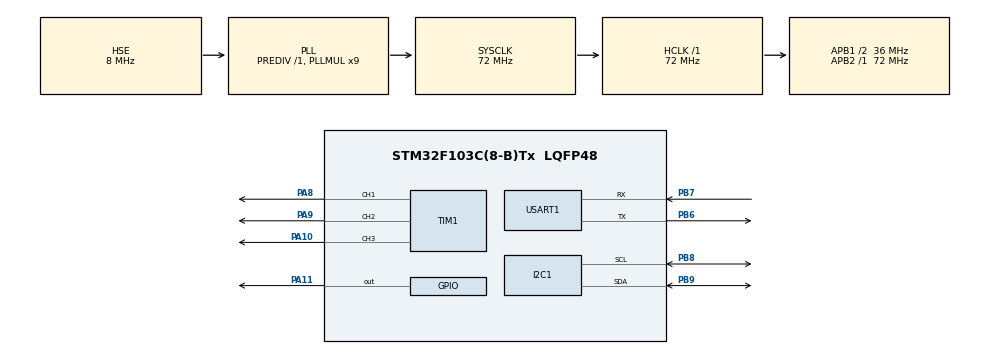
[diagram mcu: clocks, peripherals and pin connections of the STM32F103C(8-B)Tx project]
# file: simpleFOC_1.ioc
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Mcu.Family=STM32F1
Mcu.Name=STM32F103C(8-B)Tx
Mcu.Package=LQFP48
NVIC.PriorityGroup=NVIC_PRIORITYGROUP_4
NVIC.TIM2_IRQn=true\:0\:0\:false\:false\:true\:true\:true\:true
NVIC.USART1_IRQn=true\:1\:0\:true\:false\:true\:true\:true\:true
PA10.Signal=S_TIM1_CH3
PA11.Signal=GPIO_Output
PA13.Mode=Serial_Wire
PA13.Signal=SYS_JTMS-SWDIO
PA14.Mode=Serial_Wire
PA14.Signal=SYS_JTCK-SWCLK
PA8.Signal=S_TIM1_CH1
PA9.Signal=S_TIM1_CH2
PB6.Mode=Asynchronous
PB6.Signal=USART1_TX
PB7.Mode=Asynchronous
PB7.Signal=USART1_RX
PB8.Mode=I2C
PB8.Signal=I2C1_SCL
PB9.Mode=I2C
PB9.Signal=I2C1_SDA
PD0-OSC_IN.Mode=HSE-External-Oscillator
PD0-OSC_IN.Signal=RCC_OSC_IN
PD1-OSC_OUT.Mode=HSE-External-Oscillator
PD1-OSC_OUT.Signal=RCC_OSC_OUT
ProjectManager.HeapSize=0x200
ProjectManager.StackSize=0x400
ProjectManager.TargetToolchain=CMake
RCC.AHBFreq_Value=72000000
RCC.APB1CLKDivider=RCC_HCLK_DIV2
RCC.APB1Freq_Value=36000000
RCC.APB1TimFreq_Value=72000000
RCC.APB2Freq_Value=72000000
RCC.APB2TimFreq_Value=72000000
RCC.HCLKFreq_Value=72000000
RCC.PLLMUL=RCC_PLL_MUL9
RCC.PLLSourceVirtual=RCC_PLLSOURCE_HSE
RCC.SYSCLKFreq_VALUE=72000000
RCC.SYSCLKSource=RCC_SYSCLKSOURCE_PLLCLK
RCC.USBFreq_Value=72000000
SH.S_TIM1_CH1.0=TIM1_CH1,PWM Generation1 CH1
SH.S_TIM1_CH2.0=TIM1_CH2,PWM Generation2 CH2
SH.S_TIM1_CH3.0=TIM1_CH3,PWM Generation3 CH3
TIM1.Channel-PWM\ Generation1\ CH1=TIM_CHANNEL_1
TIM1.Channel-PWM\ Generation2\ CH2=TIM_CHANNEL_2
TIM1.Channel-PWM\ Generation3\ CH3=TIM_CHANNEL_3
USART1.VirtualMode=VM_ASYNC
VP_TIM2_VS_ClockSourceINT.Mode=Internal
board=custom

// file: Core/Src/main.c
/* USER CODE BEGIN Header */
/**
  ******************************************************************************
  * @file           : main.c
  * @brief          : Main program body
  ******************************************************************************
  * @attention
  *
  * Copyright (c) 2026 STMicroelectronics.
  * All rights reserved.
  *
  * This software is licensed under terms that can be found in the LICENSE file
  * in the root directory of this software component.
  * If no LICENSE file comes with this software, it is provided AS-IS.
  *
  ******************************************************************************
  */
/* USER CODE END Header */
#include "main.h"

/* USER CODE BEGIN Includes */
#include "as5600.h"
#include "soft_i2c.h"
#include "foc.h"
#include <string.h>
#include <stdio.h>
#include <stdlib.h>
#include <math.h>
/* USER CODE END Includes */

/* USER CODE BEGIN PD */
#define UART_RX_BUF_SIZE    64      /* 串口接收缓冲区大小         */
#define FOC_TICK_HZ         1098.0f /* TIM2 溢出频率 (72M/65536) */
#define AS5600_READ_DIV     10      /* 每 10 次 tick 读一次 I2C  */
/* USER CODE END PD */

I2C_HandleTypeDef hi2c1;

TIM_HandleTypeDef htim1;
TIM_HandleTypeDef htim2;

UART_HandleTypeDef huart1;

/* USER CODE BEGIN PV */

/* ---- 电机控制器 ---- */
MotorController motor;

/* ---- AS5600 编码器 ---- */
volatile float    g_mech_angle_rad = 0.0f;  /* 当前圈机械角度 (rad, 0~2π) */
volatile float    g_mech_angle_acc = 0.0f;  /* 累计机械角度 (rad, 无限, 跨圈追踪) */
volatile uint16_t g_raw_angle      = 0;     /* 原始角度 (0-4095)   */
volatile uint16_t g_i2c_err_count  = 0;     /* 软 I2C 连续失败计数  */

/* ---- 定时标志 ---- */
volatile uint8_t  foc_tick   = 0;           /* TIM2 溢出标志       */
volatile uint32_t tick_count = 0;           /* 总 tick 计数 (1098Hz, ~49天回绕) */

/* ---- UART 接收 ---- */
volatile uint8_t  uart_rx_byte;             /* 单字节接收缓冲       */
volatile char     uart_rx_buf[UART_RX_BUF_SIZE];
volatile uint8_t  uart_rx_idx   = 0;
volatile uint8_t  uart_cmd_ready = 0;

/* ---- 自动打印开关 ---- */
volatile uint8_t  auto_print_enabled = 1;   /* 1=每500ms自动打印 */

/* ---- VOFA+ FireWater 协议输出 ---- */
volatile uint8_t  vofa_enabled      = 0;   /* 1=每帧控制周期输出 FireWater 数据 */

/* USER CODE END PV */

void SystemClock_Config(void);
static void MX_GPIO_Init(void);
static void MX_I2C1_Init(void);
static void MX_TIM1_Init(void);
static void MX_TIM2_Init(void);
static void MX_USART1_UART_Init(void);
/* USER CODE BEGIN PFP */
static void UART_ParseCommand(char *cmd);
static void UART_PrintStatus(void);
static void UART_SendString(const char *str);
/* USER CODE END PFP */

int main(void)
{

  /* MCU Configuration--------------------------------------------------------*/

  /* Reset of all peripherals, Initializes the Flash interface and the Systick. */
  HAL_Init();

  /* Configure the system clock */
  SystemClock_Config();

  /* Initialize all configured peripherals */
  MX_GPIO_Init();
  MX_I2C1_Init();
  SoftI2C_Init();   /* 将 PB8/PB9 切为 GPIO 开漏 (替代硬件 I2C) */
  MX_TIM1_Init();
  MX_TIM2_Init();
  MX_USART1_UART_Init();
  /* USER CODE BEGIN 2 */

  /* 初始化电机控制器: 7 极对, PWM 周期 65535
   * dt = AS5600_READ_DIV / FOC_TICK_HZ ≈ 0.0091s → ~110Hz 控制频率 */
  Motor_Init(&motor, 7, __HAL_TIM_GET_AUTORELOAD(&htim1),
             (float)AS5600_READ_DIV / FOC_TICK_HZ);

  /* 硬件使能 SimpleFOC Mini (PA11 = HIGH)
   * 注意: 软件使能 (motor.enabled = 1) 要等第一次读完传感器再开
   *       否则 target_position 会被锁定为 0 (还没读到编码器) */
  HAL_GPIO_WritePin(GPIOA, GPIO_PIN_11, GPIO_PIN_SET);

  /* 设置伺服参数: 低增益起步，避免震荡 */
  Motor_SetVoltage(&motor, 0.4f);              /* 最大 40% 电压       */
  Motor_SetPID(&motor, 0.1f, 0.02f, 0.01f);   /* Kp Ki Kd, 2804 12N14P 低增益起步 */

  /* ---- 启动诊断: 确认初始化后的状态 ---- */
  {
    char init_diag[80];
    snprintf(init_diag, sizeof(init_diag),
      "INIT: mode=%d enabled=%d pp=%d vlim=%.2f dt=%.4f\r\n",
      (int)motor.mode, (int)motor.enabled, (int)motor.pole_pairs,
      (double)motor.voltage_limit, (double)motor.dt);
    UART_SendString(init_diag);
  }

  /* ---- IWDG 独立看门狗: ~1s 超时, 主循环卡死自动复位 ---- */
  IWDG->KR = 0x5555;        /* 解锁 IWDG 寄存器 */
  IWDG->PR = 0x04;          /* 预分频 /64 → LSI(40kHz)/64 = 625Hz */
  IWDG->RLR = 625;          /* 重装载 625 → 1s 超时 */
  IWDG->KR = 0xCCCC;        /* 启动 IWDG (启动后无法软件关闭) */
  IWDG->KR = 0xAAAA;        /* 喂一次狗 */

  /* 启动 TIM1 三路 PWM */
  HAL_TIM_PWM_Start(&htim1, TIM_CHANNEL_1);
  HAL_TIM_PWM_Start(&htim1, TIM_CHANNEL_2);
  HAL_TIM_PWM_Start(&htim1, TIM_CHANNEL_3);

  /* 启动 TIM2 周期中断 */
  HAL_TIM_Base_Start_IT(&htim2);

  /* 启动 USART1 中断接收 */
  HAL_UART_Receive_IT(&huart1, (uint8_t *)&uart_rx_byte, 1);

  /* 打印帮助 */
  UART_SendString("\r\n");
  UART_SendString("========================================\r\n");
  UART_SendString("  SimpleFOC Position Servo v2.1\r\n");
  UART_SendString("========================================\r\n");
  UART_SendString("  模式:\r\n");
  UART_SendString("   M0 - 开环速度模式  M1 - 位置伺服模式\r\n");
  UART_SendString("  伺服命令:\r\n");
  UART_SendString("   T<deg>    目标角度    (如 T90, T-45)\r\n");
  UART_SendString("   V<0~1>    电压限幅    (如 V0.3)\r\n");
  UART_SendString("   Kp/Ki/Kd<n> PID 增益 (如 Kp0.5)\r\n");
  UART_SendString("   E1/E0     使能/禁用\r\n");
  UART_SendString("   P<n>      极对数      (如 P7)\r\n");
  UART_SendString("   S<rpm>    开环转速    (如 S60)\r\n");
  UART_SendString("  诊断:\r\n");
  UART_SendString("   ?         完整状态\r\n");
  UART_SendString("   D         编码器原始值 (持续打印5次)\r\n");
  UART_SendString("   C         切换自动状态打印 (开/关)\r\n");
  UART_SendString("   O1/O0     VOFA+ FireWater 输出 (19Hz 可视化)\r\n");
  UART_SendString("   H         本帮助\r\n");
  UART_SendString("========================================\r\n");

  /* USER CODE END 2 */

  /* Infinite loop */
  while (1)
  {

    /* USER CODE BEGIN 3 */

    /* 喂看门狗: 主循环每轮都喂, 卡死超过 1s 自动复位 */
    IWDG->KR = 0xAAAA;

    /* ===== FOC 控制更新 (同步传感器速率, ~110Hz) ===== */
    if (foc_tick) {
      foc_tick = 0;
      tick_count++;

      /* 只在读到新传感器数据时才执行 PID + PWM 更新
       * 避免用旧角度重复计算导致积分震荡 */
      static uint32_t last_ctrl_tick = 0;
      if (tick_count - last_ctrl_tick >= AS5600_READ_DIV) {
        last_ctrl_tick = tick_count;

        /* 读取 AS5600 角度 (软件 I2C, 无硬件卡死风险) */
        uint16_t raw = AS5600_ReadRawAngle();
        if (raw != 0xFFFF) {
          g_i2c_err_count = 0;
          g_raw_angle = raw;
          g_mech_angle_rad = (float)raw * 6.283185307f / 4096.0f;

          /* ---- 累计角度 (跨圈追踪) ----
           * AS5600 只输出 0~2π 的绝对值, 过 0/360° 边界会跳变.
           * 这里追踪每次读数的变化量, 检测到 >π 的跳变就修正,
           * 把单圈绝对值展开为跨越多圈的累计角度. */
          static float prev_wrapped = -1e10f;  /* 哨兵: 首帧 */
          if (prev_wrapped < -1e9f) {
            /* 首帧: 直接用当前值初始化 */
            g_mech_angle_acc = g_mech_angle_rad;
            prev_wrapped = g_mech_angle_rad;
          } else {
            float delta = g_mech_angle_rad - prev_wrapped;
            /* 修正 ±π 跳变 → 正常物理转动不会在 9ms 内超过半圈 */
            if (delta >  3.14159265f) delta -= 6.283185307f;
            if (delta < -3.14159265f) delta += 6.283185307f;
            g_mech_angle_acc += delta;
            prev_wrapped = g_mech_angle_rad;
          }

          /* 给 PID 和 FOC 传累计角度 (无跳变) */
          Motor_SetMechanicalAngle(&motor, g_mech_angle_acc);

          /* 首次读到有效传感器数据：使能电机 + 锁定当前位置 */
          static uint8_t first_read = 1;
          if (first_read) {
            first_read = 0;
            motor.mode            = MODE_POSITION_SERVO;
            motor.target_position = g_mech_angle_acc;  /* 累计位置 */
            motor.enabled         = 1;
            motor.electrical_angle = 0.0f;
            PID_Reset(&motor.pid);
            UART_SendString("BOOT: first sensor OK, servo locked.\r\n");
          }
        } else {
          /* 软 I2C 读失败 → 递增错误计数
           * 连续失败 ≥60 次 (~0.5s) 则禁能 */
          g_i2c_err_count++;
          if (g_i2c_err_count >= 60 && motor.enabled) {
            motor.enabled = 0;
            uint16_t neutral = motor.pwm_period >> 1;
            __HAL_TIM_SET_COMPARE(&htim1, TIM_CHANNEL_1, neutral);
            __HAL_TIM_SET_COMPARE(&htim1, TIM_CHANNEL_2, neutral);
            __HAL_TIM_SET_COMPARE(&htim1, TIM_CHANNEL_3, neutral);
            UART_SendString("EMERGENCY: I2C lost, motor disabled!\r\n");
          }
        }

        /* 新角度 → 运行一次 PID → 更新 PWM */
        Motor_UpdatePWM(&motor, &htim1);

        /* ---- VOFA+ FireWater 输出 (每控制帧, 仅传感器读数成功时) ----
         * 格式: angle,target,error,i2cerr\n
         * 4 通道 float, CSV 文本, 110Hz @ 115200 → 占用 ~17% 带宽 */
        if (vofa_enabled && raw != 0xFFFF) {
          static char vbuf[48];
          int len = snprintf(vbuf, sizeof(vbuf),
            "%.1f,%.1f,%.1f,%u\r\n",
            (double)(g_mech_angle_rad * 57.29578f),
            (double)(motor.target_position * 57.29578f),
            (double)((motor.target_position - g_mech_angle_acc) * 57.29578f),
            g_i2c_err_count);
          if (len > 0 && len < (int)sizeof(vbuf)) {
            HAL_UART_Transmit(&huart1, (uint8_t *)vbuf, (uint16_t)len, 5);
          }
        }
      }
    }

    /* ===== UART 命令处理 ===== */
    if (uart_cmd_ready) {
      uart_cmd_ready = 0;
      UART_ParseCommand((char *)uart_rx_buf);
      uart_rx_idx = 0;
      /* 注意: 不在这里调 HAL_UART_Receive_IT
       * 中断回调 HAL_UART_RxCpltCallback 已经持续在接收下一个字节 */
    }

    /* ===== 自动打印状态 (每 ~500ms, 可通过 'C' 命令开关) ===== */
    static uint32_t print_tick = 0;
    if (auto_print_enabled && tick_count - print_tick >= 550) {
      print_tick = tick_count;
      static char buf[96];  /* static — 不放栈上 */
      /* 显示误差: 用累计角度 (target - g_mech_angle_acc),
       * 值为 0 时在目标, ±360°=多转一圈, 直观显示"转了几圈" */
      snprintf(buf, sizeof(buf),
        "> A:%4u deg:%6.1f err:%+6.1f tgt:%5.1f v:%.2f %s i2c:%u\r\n",
        g_raw_angle,
        (double)(g_mech_angle_rad * 57.29578f),
        (double)((motor.target_position - g_mech_angle_acc) * 57.29578f),
        (double)(motor.target_position * 57.29578f),
        motor.voltage_limit,
        motor.enabled ? (motor.mode == MODE_POSITION_SERVO ? "[SERVO]" : "[SPEED]") : "[OFF]",
        g_i2c_err_count
      );
      UART_SendString(buf);
    }

    /* USER CODE END 3 */
  }
}

void SystemClock_Config(void)
{
  RCC_OscInitTypeDef RCC_OscInitStruct = {0};
  RCC_ClkInitTypeDef RCC_ClkInitStruct = {0};

  /** Initializes the RCC Oscillators according to the specified parameters
  * in the RCC_OscInitTypeDef structure.
  */
  RCC_OscInitStruct.OscillatorType = RCC_OSCILLATORTYPE_HSE;
  RCC_OscInitStruct.HSEState = RCC_HSE_ON;
  RCC_OscInitStruct.HSEPredivValue = RCC_HSE_PREDIV_DIV1;
  RCC_OscInitStruct.HSIState = RCC_HSI_ON;
  RCC_OscInitStruct.PLL.PLLState = RCC_PLL_ON;
  RCC_OscInitStruct.PLL.PLLSource = RCC_PLLSOURCE_HSE;
  RCC_OscInitStruct.PLL.PLLMUL = RCC_PLL_MUL9;
  if (HAL_RCC_OscConfig(&RCC_OscInitStruct) != HAL_OK)
  {
    Error_Handler();
  }

  /** Initializes the CPU, AHB and APB buses clocks
  */
  RCC_ClkInitStruct.ClockType = RCC_CLOCKTYPE_HCLK|RCC_CLOCKTYPE_SYSCLK
                              |RCC_CLOCKTYPE_PCLK1|RCC_CLOCKTYPE_PCLK2;
  RCC_ClkInitStruct.SYSCLKSource = RCC_SYSCLKSOURCE_PLLCLK;
  RCC_ClkInitStruct.AHBCLKDivider = RCC_SYSCLK_DIV1;
  RCC_ClkInitStruct.APB1CLKDivider = RCC_HCLK_DIV2;
  RCC_ClkInitStruct.APB2CLKDivider = RCC_HCLK_DIV1;

  if (HAL_RCC_ClockConfig(&RCC_ClkInitStruct, FLASH_LATENCY_2) != HAL_OK)
  {
    Error_Handler();
  }
}

static void MX_I2C1_Init(void)
{

  hi2c1.Instance = I2C1;
  hi2c1.Init.ClockSpeed = 100000;
  hi2c1.Init.DutyCycle = I2C_DUTYCYCLE_2;
  hi2c1.Init.OwnAddress1 = 0;
  hi2c1.Init.AddressingMode = I2C_ADDRESSINGMODE_7BIT;
  hi2c1.Init.DualAddressMode = I2C_DUALADDRESS_DISABLE;
  hi2c1.Init.OwnAddress2 = 0;
  hi2c1.Init.GeneralCallMode = I2C_GENERALCALL_DISABLE;
  hi2c1.Init.NoStretchMode = I2C_NOSTRETCH_DISABLE;
  if (HAL_I2C_Init(&hi2c1) != HAL_OK)
  {
    Error_Handler();
  }

}

static void MX_TIM1_Init(void)
{

  TIM_MasterConfigTypeDef sMasterConfig = {0};
  TIM_OC_InitTypeDef sConfigOC = {0};
  TIM_BreakDeadTimeConfigTypeDef sBreakDeadTimeConfig = {0};

  htim1.Instance = TIM1;
  htim1.Init.Prescaler = 0;
  htim1.Init.CounterMode = TIM_COUNTERMODE_UP;
  htim1.Init.Period = 65535;
  htim1.Init.ClockDivision = TIM_CLOCKDIVISION_DIV1;
  htim1.Init.RepetitionCounter = 0;
  htim1.Init.AutoReloadPreload = TIM_AUTORELOAD_PRELOAD_DISABLE;
  if (HAL_TIM_PWM_Init(&htim1) != HAL_OK)
  {
    Error_Handler();
  }
  sMasterConfig.MasterOutputTrigger = TIM_TRGO_RESET;
  sMasterConfig.MasterSlaveMode = TIM_MASTERSLAVEMODE_DISABLE;
  if (HAL_TIMEx_MasterConfigSynchronization(&htim1, &sMasterConfig) != HAL_OK)
  {
    Error_Handler();
  }
  sConfigOC.OCMode = TIM_OCMODE_PWM1;
  sConfigOC.Pulse = 0;
  sConfigOC.OCPolarity = TIM_OCPOLARITY_HIGH;
  sConfigOC.OCNPolarity = TIM_OCNPOLARITY_HIGH;
  sConfigOC.OCFastMode = TIM_OCFAST_DISABLE;
  sConfigOC.OCIdleState = TIM_OCIDLESTATE_RESET;
  sConfigOC.OCNIdleState = TIM_OCNIDLESTATE_RESET;
  if (HAL_TIM_PWM_ConfigChannel(&htim1, &sConfigOC, TIM_CHANNEL_1) != HAL_OK)
  {
    Error_Handler();
  }
  if (HAL_TIM_PWM_ConfigChannel(&htim1, &sConfigOC, TIM_CHANNEL_2) != HAL_OK)
  {
    Error_Handler();
  }
  if (HAL_TIM_PWM_ConfigChannel(&htim1, &sConfigOC, TIM_CHANNEL_3) != HAL_OK)
  {
    Error_Handler();
  }
  sBreakDeadTimeConfig.OffStateRunMode = TIM_OSSR_DISABLE;
  sBreakDeadTimeConfig.OffStateIDLEMode = TIM_OSSI_DISABLE;
  sBreakDeadTimeConfig.LockLevel = TIM_LOCKLEVEL_OFF;
  sBreakDeadTimeConfig.DeadTime = 0;
  sBreakDeadTimeConfig.BreakState = TIM_BREAK_DISABLE;
  sBreakDeadTimeConfig.BreakPolarity = TIM_BREAKPOLARITY_HIGH;
  sBreakDeadTimeConfig.AutomaticOutput = TIM_AUTOMATICOUTPUT_DISABLE;
  if (HAL_TIMEx_ConfigBreakDeadTime(&htim1, &sBreakDeadTimeConfig) != HAL_OK)
  {
    Error_Handler();
  }
  HAL_TIM_MspPostInit(&htim1);

}

static void MX_TIM2_Init(void)
{

  TIM_ClockConfigTypeDef sClockSourceConfig = {0};
  TIM_MasterConfigTypeDef sMasterConfig = {0};

  htim2.Instance = TIM2;
  htim2.Init.Prescaler = 0;
  htim2.Init.CounterMode = TIM_COUNTERMODE_UP;
  htim2.Init.Period = 65535;
  htim2.Init.ClockDivision = TIM_CLOCKDIVISION_DIV1;
  htim2.Init.AutoReloadPreload = TIM_AUTORELOAD_PRELOAD_DISABLE;
  if (HAL_TIM_Base_Init(&htim2) != HAL_OK)
  {
    Error_Handler();
  }
  sClockSourceConfig.ClockSource = TIM_CLOCKSOURCE_INTERNAL;
  if (HAL_TIM_ConfigClockSource(&htim2, &sClockSourceConfig) != HAL_OK)
  {
    Error_Handler();
  }
  sMasterConfig.MasterOutputTrigger = TIM_TRGO_RESET;
  sMasterConfig.MasterSlaveMode = TIM_MASTERSLAVEMODE_DISABLE;
  if (HAL_TIMEx_MasterConfigSynchronization(&htim2, &sMasterConfig) != HAL_OK)
  {
    Error_Handler();
  }

}

static void MX_USART1_UART_Init(void)
{

  huart1.Instance = USART1;
  huart1.Init.BaudRate = 115200;
  huart1.Init.WordLength = UART_WORDLENGTH_8B;
  huart1.Init.StopBits = UART_STOPBITS_1;
  huart1.Init.Parity = UART_PARITY_NONE;
  huart1.Init.Mode = UART_MODE_TX_RX;
  huart1.Init.HwFlowCtl = UART_HWCONTROL_NONE;
  huart1.Init.OverSampling = UART_OVERSAMPLING_16;
  if (HAL_UART_Init(&huart1) != HAL_OK)
  {
    Error_Handler();
  }

}

static void MX_GPIO_Init(void)
{
  GPIO_InitTypeDef GPIO_InitStruct = {0};

  /* GPIO Ports Clock Enable */
  __HAL_RCC_GPIOD_CLK_ENABLE();
  __HAL_RCC_GPIOA_CLK_ENABLE();
  __HAL_RCC_GPIOB_CLK_ENABLE();

  /*Configure GPIO pin Output Level */
  HAL_GPIO_WritePin(GPIOA, GPIO_PIN_11, GPIO_PIN_RESET);

  /*Configure GPIO pin : PA11 */
  GPIO_InitStruct.Pin = GPIO_PIN_11;
  GPIO_InitStruct.Mode = GPIO_MODE_OUTPUT_PP;
  GPIO_InitStruct.Pull = GPIO_NOPULL;
  GPIO_InitStruct.Speed = GPIO_SPEED_FREQ_LOW;
  HAL_GPIO_Init(GPIOA, &GPIO_InitStruct);

}

/* USER CODE BEGIN 4 */

/* ================================================================
 *                    HAL 回调函数
 * ================================================================ */

/**
 * @brief TIM 周期溢出回调 — 由 HAL_TIM_IRQHandler 调用
 */
void HAL_TIM_PeriodElapsedCallback(TIM_HandleTypeDef *htim)
{
  if (htim->Instance == TIM2) {
    foc_tick = 1;         /* 通知主循环更新控制 */
  }
}

/**
 * @brief UART 接收完成回调 — 单字节接收模式
 */
void HAL_UART_RxCpltCallback(UART_HandleTypeDef *huart)
{
  if (huart->Instance == USART1) {
    uint8_t byte = uart_rx_byte;

    /* 收到换行 → 命令就绪 */
    if (byte == '\n' || byte == '\r') {
      if (uart_rx_idx > 0 && !uart_cmd_ready) {
        uart_rx_buf[uart_rx_idx] = '\0';
        uart_cmd_ready = 1;
      }
    }
    /* 普通字符 → 写入缓冲区 (上次命令未处理完则丢弃) */
    else if (uart_rx_idx < UART_RX_BUF_SIZE - 1 && !uart_cmd_ready) {
      uart_rx_buf[uart_rx_idx++] = (char)byte;
    }

    /* 重新启用中断接收下一个字节 */
    HAL_UART_Receive_IT(&huart1, (uint8_t *)&uart_rx_byte, 1);
  }
}

/* ================================================================
 *                    UART 辅助函数
 * ================================================================ */

/**
 * @brief 发送字符串到串口
 */
static void UART_SendString(const char *str)
{
  HAL_UART_Transmit(&huart1, (uint8_t *)str, strlen(str), 100);
}

/**
 * @brief 打印当前状态
 */
static void UART_PrintStatus(void)
{
  static char buf[384];  /* static — 不放栈上, 防栈溢出 */
  snprintf(buf, sizeof(buf),
    "--- Status ------------------\r\n"
    " Mode:     %s (%d)\r\n"
    " Enabled:  %d\r\n"
    " Voltage:  %.2f\r\n"
    " Pole Pairs: %d\r\n"
    " Raw Angle:  %u / 4095\r\n"
    " Mech Angle: %.2f rad (%.1f deg)\r\n"
    " Elec Angle: %.2f rad\r\n"
    " Target Pos: %.1f deg\r\n"
    " Pos Error:  %+.1f deg\r\n"
    " PID Kp=%.3f Ki=%.3f Kd=%.3f\r\n"
    " Ticks: %lu\r\n"
    " I2C Err: %u\r\n"
    "-----------------------------\r\n",
    motor.mode == MODE_POSITION_SERVO ? "SERVO" : "SPEED",
    (int)motor.mode,
    motor.enabled,
    motor.voltage_limit,
    motor.pole_pairs,
    g_raw_angle,
    g_mech_angle_rad,
    (double)(g_mech_angle_rad * 57.29578f),
    motor.electrical_angle,
    (double)(motor.target_position * 57.29578f),
    (double)((motor.target_position - g_mech_angle_acc) * 57.29578f),
    motor.pid.Kp, motor.pid.Ki, motor.pid.Kd,
    tick_count,
    g_i2c_err_count
  );
  UART_SendString(buf);
}

/**
 * @brief 解析串口命令
 *
 *  协议: 单字母命令 + 可选参数，换行结束。大小写不敏感。
 *  @note atof() 始终可用 (stdlib), snprintf %f 需要 -u _printf_float
 */
static void UART_ParseCommand(char *cmd)
{
  /* 跳过前导空白 */
  while (*cmd == ' ' || *cmd == '\t') cmd++;
  if (*cmd == '\0') return;

  char op = *cmd++;
  static char buf[64];  /* static — 不放栈上 */

  switch (op) {

    /* ==================== 模式切换 ==================== */
    case 'M': case 'm': {
      int m = atoi(cmd);
      if (m == 0) {
        Motor_SetMode(&motor, MODE_OPENLOOP_SPEED);
        UART_SendString("OK Mode -> OPENLOOP SPEED\r\n");
      } else if (m == 1) {
        Motor_SetMode(&motor, MODE_POSITION_SERVO);
        UART_SendString("OK Mode -> POSITION SERVO\r\n");
      } else {
        UART_SendString("ERR M0=Speed M1=Servo\r\n");
      }
      break;
    }

    /* ==================== 目标角度 (伺服模式) ==================== */
    case 'T': case 't': {
      float deg = (float)atof(cmd);
      /* 将用户请求的绝对角度 (0~360°) 映射到累计坐标系:
       * 找距离当前累计位置最近的那个"90°"实例 */
      float req = deg * 0.0174532925f;        /* 请求角 (rad, 0~2π) */
      float diff = req - g_mech_angle_rad;    /* 当前圈内的差值 */
      if (diff >  3.14159265f) diff -= 6.283185307f;
      if (diff < -3.14159265f) diff += 6.283185307f;
      motor.target_position = g_mech_angle_acc + diff;
      snprintf(buf, sizeof(buf), "OK Target -> %.1f deg\r\n", (double)deg);
      UART_SendString(buf);
      break;
    }

    /* ==================== PID 参数 ==================== */
    case 'K': case 'k': {
      if (*cmd == 'p' || *cmd == 'P') {
        motor.pid.Kp = (float)atof(cmd + 1);
        snprintf(buf, sizeof(buf), "OK Kp=%.3f\r\n", (double)motor.pid.Kp);
        UART_SendString(buf);
      } else if (*cmd == 'i' || *cmd == 'I') {
        motor.pid.Ki = (float)atof(cmd + 1);
        snprintf(buf, sizeof(buf), "OK Ki=%.3f\r\n", (double)motor.pid.Ki);
        UART_SendString(buf);
      } else if (*cmd == 'd' || *cmd == 'D') {
        motor.pid.Kd = (float)atof(cmd + 1);
        snprintf(buf, sizeof(buf), "OK Kd=%.3f\r\n", (double)motor.pid.Kd);
        UART_SendString(buf);
      } else {
        UART_SendString("ERR Usage: Kp<n> Ki<n> Kd<n>\r\n");
      }
      PID_Reset(&motor.pid);
      break;
    }

    /* ==================== 转速 (开环模式) ==================== */
    case 'S': case 's': {
      float rpm = (float)atof(cmd);
      Motor_SetSpeed(&motor, rpm);
      snprintf(buf, sizeof(buf), "OK Speed -> %.0f RPM\r\n", (double)rpm);
      UART_SendString(buf);
      break;
    }

    /* ==================== 电压限幅 ==================== */
    case 'V': case 'v': {
      float v = (float)atof(cmd);
      Motor_SetVoltage(&motor, v);
      snprintf(buf, sizeof(buf), "OK Voltage -> %.2f\r\n", (double)v);
      UART_SendString(buf);
      break;
    }

    /* ==================== 使能/禁用 ==================== */
    case 'E': case 'e': {
      int en = atoi(cmd);
      Motor_Enable(&motor, (uint8_t)(en != 0));
      if (motor.enabled) {
        HAL_GPIO_WritePin(GPIOA, GPIO_PIN_11, GPIO_PIN_SET);
        UART_SendString("OK Motor ENABLED\r\n");
      } else {
        uint16_t neutral = motor.pwm_period >> 1;
        __HAL_TIM_SET_COMPARE(&htim1, TIM_CHANNEL_1, neutral);
        __HAL_TIM_SET_COMPARE(&htim1, TIM_CHANNEL_2, neutral);
        __HAL_TIM_SET_COMPARE(&htim1, TIM_CHANNEL_3, neutral);
        HAL_GPIO_WritePin(GPIOA, GPIO_PIN_11, GPIO_PIN_RESET);
        UART_SendString("OK Motor DISABLED (PWM=50%)\r\n");
      }
      break;
    }

    /* ==================== 极对数 ==================== */
    case 'P': case 'p': {
      int pp = atoi(cmd);
      if (pp >= 1 && pp <= 100) {
        motor.pole_pairs = (uint8_t)pp;
        snprintf(buf, sizeof(buf), "OK Pole pairs -> %d\r\n", pp);
        UART_SendString(buf);
      } else {
        UART_SendString("ERR Pole pairs must be 1-100\r\n");
      }
      break;
    }

    /* ==================== 切换自动打印 ==================== */
    case 'C': case 'c':
      auto_print_enabled = !auto_print_enabled;
      if (auto_print_enabled) {
        UART_SendString("OK Auto print ON (every 0.5s)\r\n");
      } else {
        UART_SendString("OK Auto print OFF\r\n");
      }
      break;

    /* ==================== VOFA+ FireWater 开关 ==================== */
    case 'O': case 'o':
      vofa_enabled = (uint8_t)atoi(cmd);
      if (vofa_enabled) {
        auto_print_enabled = 0;  /* FireWater 和文本打印互斥 */
        UART_SendString("OK VOFA+ FireWater ON (angle,target,error,i2c)\r\n");
      } else {
        UART_SendString("OK VOFA+ OFF\r\n");
      }
      break;

    /* ==================== 编码器诊断 ==================== */
    case 'D': case 'd': {
      UART_SendString("--- Encoder Diag (5 samples) ---\r\n");
      uint8_t magnet = AS5600_IsMagnetDetected();
      snprintf(buf, sizeof(buf), " Magnet: %s\r\n", magnet ? "OK" : "MISSING!");
      UART_SendString(buf);
      for (int i = 0; i < 5; i++) {
        uint16_t raw = AS5600_ReadRawAngle();
        float deg = (float)raw * 360.0f / 4096.0f;
        snprintf(buf, sizeof(buf),
                 " [%d] raw=%4u -> %.1f deg (0x%04X)\r\n",
                 i + 1, raw, (double)deg, raw);
        UART_SendString(buf);
        HAL_Delay(5);  /* 等 5ms 再读下一个 */
      }
      UART_SendString("--- End Diag ---\r\n");
      break;
    }

    /* ==================== 完整状态 ==================== */
    case '?':
      UART_PrintStatus();
      break;

    /* ==================== 帮助 ==================== */
    case 'H': case 'h':
      UART_SendString("M0/M1  T<deg>  V<n>  Kp/Ki/Kd<n>  S<rpm>\r\n");
      UART_SendString("E1/E0  P<n>    C(auto) O1/O0(VOFA) D(diag) ?\r\n");
      break;

    default:
      snprintf(buf, sizeof(buf), "ERR Unknown cmd '%c'. H for help\r\n", op);
      UART_SendString(buf);
      break;
  }
}

/* USER CODE END 4 */

void Error_Handler(void)
{
  __disable_irq();
  while (1)
  {
  }
}
